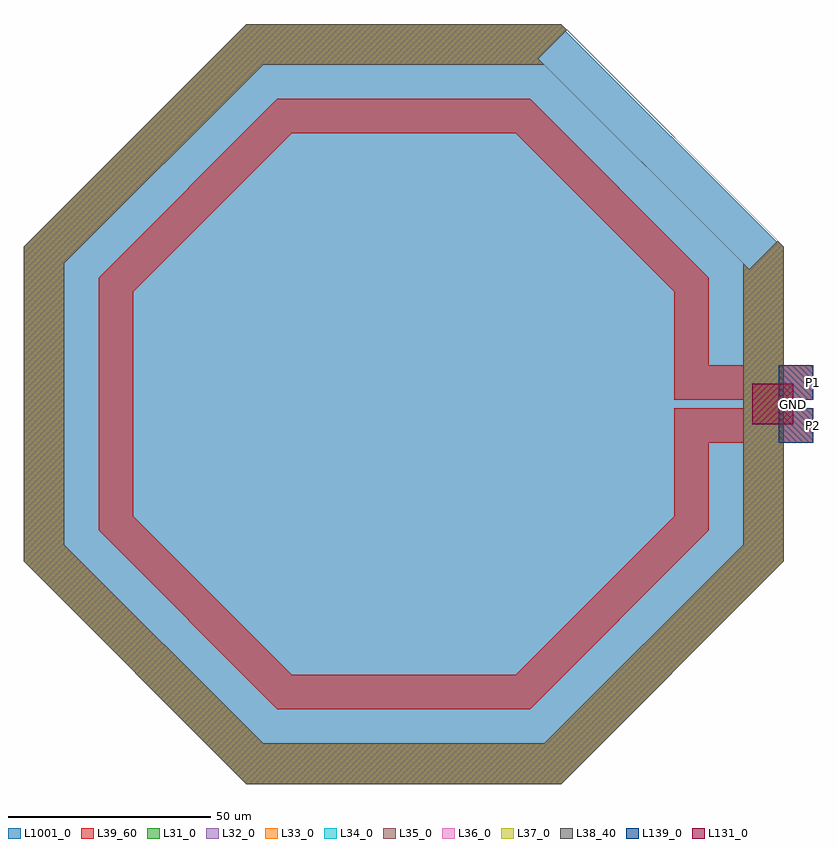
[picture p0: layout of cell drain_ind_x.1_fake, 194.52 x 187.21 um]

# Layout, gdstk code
import gdstk
lib = gdstk.Library(unit=1e-6, precision=1e-09)
def R(c, l, rs):  # rectangles x0, y0, x1, y1
    for r in rs: c.add(gdstk.rectangle(r[:2], r[2:], *l))
def P(c, l, *ps):  # polygons
    for p in ps: c.add(gdstk.Polygon(p, *l))
L31_0 = (31, 0)
L32_0 = (32, 0)
L33_0 = (33, 0)
L34_0 = (34, 0)
L35_0 = (35, 0)
L36_0 = (36, 0)
L37_0 = (37, 0)
L38_40 = (38, 40)
L39_60 = (39, 60)
L131_0 = (131, 0)
L139_0 = (139, 0)
L1001_0 = (1001, 0)

drain_ind_x_1_fake = lib.new_cell('drain_ind_x.1_fake')
P(drain_ind_x_1_fake, L31_0, [(85.072,33.167),(92.143,40.238),(38.773,93.607),(-38.773,93.607),(-93.607,38.773),(-93.607,-38.773),(-38.773,-93.607),(38.773,-93.607),(93.607,-38.773),(93.607,38.773),(40.238,92.143),(33.167,85.072),(83.607,34.631),(83.607,-34.631),(34.631,-83.607),(-34.631,-83.607),(-83.607,-34.631),(-83.607,34.631),(-34.631,83.607),(34.631,83.607)])
P(drain_ind_x_1_fake, L32_0, [(85.072,33.167),(92.143,40.238),(38.773,93.607),(-38.773,93.607),(-93.607,38.773),(-93.607,-38.773),(-38.773,-93.607),(38.773,-93.607),(93.607,-38.773),(93.607,38.773),(40.238,92.143),(33.167,85.072),(83.607,34.631),(83.607,-34.631),(34.631,-83.607),(-34.631,-83.607),(-83.607,-34.631),(-83.607,34.631),(-34.631,83.607),(34.631,83.607)])
P(drain_ind_x_1_fake, L33_0, [(85.072,33.167),(92.143,40.238),(38.773,93.607),(-38.773,93.607),(-93.607,38.773),(-93.607,-38.773),(-38.773,-93.607),(38.773,-93.607),(93.607,-38.773),(93.607,38.773),(40.238,92.143),(33.167,85.072),(83.607,34.631),(83.607,-34.631),(34.631,-83.607),(-34.631,-83.607),(-83.607,-34.631),(-83.607,34.631),(-34.631,83.607),(34.631,83.607)])
P(drain_ind_x_1_fake, L34_0, [(85.072,33.167),(92.143,40.238),(38.773,93.607),(-38.773,93.607),(-93.607,38.773),(-93.607,-38.773),(-38.773,-93.607),(38.773,-93.607),(93.607,-38.773),(93.607,38.773),(40.238,92.143),(33.167,85.072),(83.607,34.631),(83.607,-34.631),(34.631,-83.607),(-34.631,-83.607),(-83.607,-34.631),(-83.607,34.631),(-34.631,83.607),(34.631,83.607)])
P(drain_ind_x_1_fake, L35_0, [(85.072,33.167),(92.143,40.238),(38.773,93.607),(-38.773,93.607),(-93.607,38.773),(-93.607,-38.773),(-38.773,-93.607),(38.773,-93.607),(93.607,-38.773),(93.607,38.773),(40.238,92.143),(33.167,85.072),(83.607,34.631),(83.607,-34.631),(34.631,-83.607),(-34.631,-83.607),(-83.607,-34.631),(-83.607,34.631),(-34.631,83.607),(34.631,83.607)])
P(drain_ind_x_1_fake, L36_0, [(85.072,33.167),(92.143,40.238),(38.773,93.607),(-38.773,93.607),(-93.607,38.773),(-93.607,-38.773),(-38.773,-93.607),(38.773,-93.607),(93.607,-38.773),(93.607,38.773),(40.238,92.143),(33.167,85.072),(83.607,34.631),(83.607,-34.631),(34.631,-83.607),(-34.631,-83.607),(-83.607,-34.631),(-83.607,34.631),(-34.631,83.607),(34.631,83.607)])
P(drain_ind_x_1_fake, L37_0, [(85.072,33.167),(92.143,40.238),(38.773,93.607),(-38.773,93.607),(-93.607,38.773),(-93.607,-38.773),(-38.773,-93.607),(38.773,-93.607),(93.607,-38.773),(93.607,38.773),(40.238,92.143),(33.167,85.072),(83.607,34.631),(83.607,-34.631),(34.631,-83.607),(-34.631,-83.607),(-83.607,-34.631),(-83.607,34.631),(-34.631,83.607),(34.631,83.607)])
P(drain_ind_x_1_fake, L38_40, [(85.072,33.167),(92.143,40.238),(38.773,93.607),(-38.773,93.607),(-93.607,38.773),(-93.607,-38.773),(-38.773,-93.607),(38.773,-93.607),(93.607,-38.773),(93.607,38.773),(40.238,92.143),(33.167,85.072),(83.607,34.631),(83.607,-34.631),(34.631,-83.607),(-34.631,-83.607),(-83.607,-34.631),(-83.607,34.631),(-34.631,83.607),(34.631,83.607)])
R(drain_ind_x_1_fake, L39_60, [(66.66,-9.56,100.91,-1.06), (66.66,1.06,100.91,9.56)])
P(drain_ind_x_1_fake, L39_60, [(66.66,5.31),(75.16,5.31),(75.16,31.13),(31.13,75.16),(-31.13,75.16),(-75.16,31.13),(-75.16,-31.13),(-31.13,-75.16),(31.13,-75.16),(75.16,-31.13),(75.16,-5.31),(66.66,-5.31),(66.66,-27.61),(27.61,-66.66),(-27.61,-66.66),(-66.66,-27.61),(-66.66,27.61),(-27.61,66.66),(27.61,66.66),(66.66,27.61)],
  [(85.072,33.167),(92.143,40.238),(38.773,93.607),(-38.773,93.607),(-93.607,38.773),(-93.607,-38.773),(-38.773,-93.607),(38.773,-93.607),(93.607,-38.773),(93.607,38.773),(40.238,92.143),(33.167,85.072),(83.607,34.631),(83.607,-34.631),(34.631,-83.607),(-34.631,-83.607),(-83.607,-34.631),(-83.607,34.631),(-34.631,83.607),(34.631,83.607)])
R(drain_ind_x_1_fake, L131_0, [(85.91,-5,95.91,5)])
R(drain_ind_x_1_fake, L139_0, [(92.41,-9.56,100.91,-1.06), (92.41,1.06,100.91,9.56)])
P(drain_ind_x_1_fake, L1001_0, [(93.227,38.616),(38.616,93.227),(-38.616,93.227),(-93.227,38.616),(-93.227,-38.616),(-38.616,-93.227),(38.616,-93.227),(93.227,-38.616)],
  [(93.227,38.616),(38.616,93.227),(-38.616,93.227),(-93.227,38.616),(-93.227,-38.616),(-38.616,-93.227),(38.616,-93.227),(93.227,-38.616)],
  [(93.227,38.616),(38.616,93.227),(-38.616,93.227),(-93.227,38.616),(-93.227,-38.616),(-38.616,-93.227),(38.616,-93.227),(93.227,-38.616)],
  [(93.227,38.616),(38.616,93.227),(-38.616,93.227),(-93.227,38.616),(-93.227,-38.616),(-38.616,-93.227),(38.616,-93.227),(93.227,-38.616)],
  [(93.227,38.616),(38.616,93.227),(-38.616,93.227),(-93.227,38.616),(-93.227,-38.616),(-38.616,-93.227),(38.616,-93.227),(93.227,-38.616)],
  [(93.227,38.616),(38.616,93.227),(-38.616,93.227),(-93.227,38.616),(-93.227,-38.616),(-38.616,-93.227),(38.616,-93.227),(93.227,-38.616)],
  [(93.227,38.616),(38.616,93.227),(-38.616,93.227),(-93.227,38.616),(-93.227,-38.616),(-38.616,-93.227),(38.616,-93.227),(93.227,-38.616)],
  [(93.227,38.616),(38.616,93.227),(-38.616,93.227),(-93.227,38.616),(-93.227,-38.616),(-38.616,-93.227),(38.616,-93.227),(93.227,-38.616)],
  [(93.227,38.616),(38.616,93.227),(-38.616,93.227),(-93.227,38.616),(-93.227,-38.616),(-38.616,-93.227),(38.616,-93.227),(93.227,-38.616)])
drain_ind_x_1_fake.add(gdstk.Label('P1', (100.908,5.312), layer=139, texttype=0))
drain_ind_x_1_fake.add(gdstk.Label('P2', (100.908,-5.312), layer=139, texttype=0))
drain_ind_x_1_fake.add(gdstk.Label('GND', (95.908,0), layer=131, texttype=0))

lib.write_gds('drain_ind_x.1_fake.gds')
